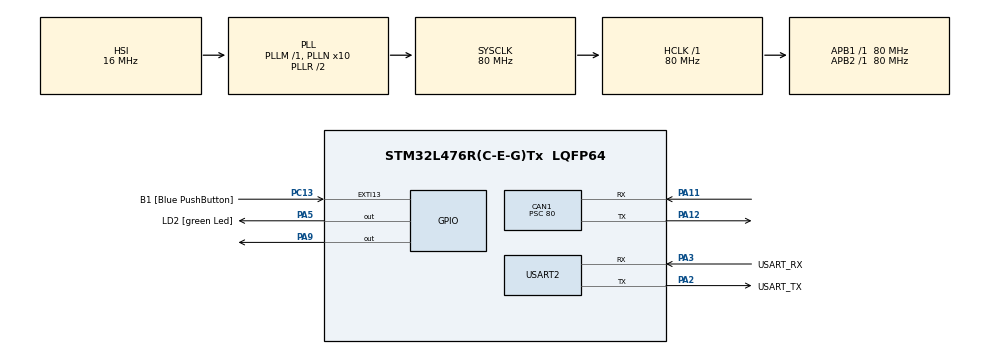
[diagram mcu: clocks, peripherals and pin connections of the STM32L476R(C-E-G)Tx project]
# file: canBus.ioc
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CAN1.BS1=CAN_BS1_2TQ
CAN1.BS2=CAN_BS2_2TQ
CAN1.CalculateBaudRate=200000
CAN1.CalculateTimeBit=5000.00
CAN1.CalculateTimeQuantum=1000.0
CAN1.Prescaler=80
CAN1.SJW=CAN_SJW_1TQ
Mcu.Family=STM32L4
Mcu.Name=STM32L476R(C-E-G)Tx
Mcu.Package=LQFP64
NVIC.CAN1_RX0_IRQn=true\:2\:0\:true\:false\:true\:true\:true
NVIC.EXTI15_10_IRQn=true\:1\:0\:true\:false\:true\:true\:true
NVIC.PriorityGroup=NVIC_PRIORITYGROUP_4
PA11.Mode=CAN_Activate
PA11.Signal=CAN1_RX
PA12.Mode=CAN_Activate
PA12.Signal=CAN1_TX
PA13\ (JTMS-SWDIO).GPIO_Label=TMS
PA13\ (JTMS-SWDIO).Mode=Serial_Wire
PA13\ (JTMS-SWDIO).Signal=SYS_JTMS-SWDIO
PA14\ (JTCK-SWCLK).GPIO_Label=TCK
PA14\ (JTCK-SWCLK).Mode=Serial_Wire
PA14\ (JTCK-SWCLK).Signal=SYS_JTCK-SWCLK
PA2.GPIO_Label=USART_TX
PA2.GPIO_Mode=GPIO_MODE_AF_PP
PA2.GPIO_PuPd=GPIO_NOPULL
PA2.GPIO_Speed=GPIO_SPEED_FREQ_VERY_HIGH
PA2.Mode=Asynchronous
PA2.Signal=USART2_TX
PA3.GPIO_Label=USART_RX
PA3.GPIO_Mode=GPIO_MODE_AF_PP
PA3.GPIO_PuPd=GPIO_NOPULL
PA3.GPIO_Speed=GPIO_SPEED_FREQ_VERY_HIGH
PA3.Mode=Asynchronous
PA3.Signal=USART2_RX
PA5.GPIO_Label=LD2 [green Led]
PA5.GPIO_ModeDefaultOutputPP=GPIO_MODE_OUTPUT_PP
PA5.GPIO_PuPd=GPIO_NOPULL
PA5.GPIO_Speed=GPIO_SPEED_FREQ_LOW
PA5.Signal=GPIO_Output
PA9.Signal=GPIO_Output
PB3\ (JTDO-TRACESWO).GPIO_Label=SWO
PB3\ (JTDO-TRACESWO).Signal=SYS_JTDO-SWO
PC13.GPIO_Label=B1 [Blue PushButton]
PC13.GPIO_ModeDefaultEXTI=GPIO_MODE_IT_FALLING
PC13.GPIO_PuPd=GPIO_NOPULL
PC13.Signal=GPXTI13
PC14-OSC32_IN\ (PC14).Signal=RCC_OSC32_IN
PC15-OSC32_OUT\ (PC15).Signal=RCC_OSC32_OUT
PH0-OSC_IN\ (PH0).Mode=HSE-External-Oscillator
PH0-OSC_IN\ (PH0).Signal=RCC_OSC_IN
PH1-OSC_OUT\ (PH1).Mode=HSE-External-Oscillator
PH1-OSC_OUT\ (PH1).Signal=RCC_OSC_OUT
ProjectManager.HeapSize=0x200
ProjectManager.StackSize=0x400
ProjectManager.TargetToolchain=STM32CubeIDE
RCC.ADCFreq_Value=64000000
RCC.AHBFreq_Value=80000000
RCC.APB1Freq_Value=80000000
RCC.APB1TimFreq_Value=80000000
RCC.APB2Freq_Value=80000000
RCC.APB2TimFreq_Value=80000000
RCC.CortexFreq_Value=80000000
RCC.HCLKFreq_Value=80000000
RCC.HSE_VALUE=8000000
RCC.HSI_VALUE=16000000
RCC.LSE_VALUE=32768
RCC.MSI_VALUE=4000000
RCC.PLLN=10
RCC.PLLSourceVirtual=RCC_PLLSOURCE_HSI
RCC.PREFETCH_ENABLE=1
RCC.SYSCLKFreq_VALUE=80000000
RCC.SYSCLKSource=RCC_SYSCLKSOURCE_PLLCLK
RCC.USBFreq_Value=64000000
RCC.VCOOutputFreq_Value=160000000
TIM6.Prescaler=80
USART2.VirtualMode-Asynchronous=VM_ASYNC
VP_TIM6_VS_ClockSourceINT.Mode=Enable_Timer
board=NUCLEO-L476RG

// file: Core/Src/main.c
/* USER CODE BEGIN Header */
/**
  ******************************************************************************
  * @file           : main.c
  * @brief          : Main program body
  ******************************************************************************
  * @attention
  *
  * <h2><center>&copy; Copyright (c) 2021 STMicroelectronics.
  * All rights reserved.</center></h2>
  *
  * This software component is licensed by ST under BSD 3-Clause license,
  * the "License"; You may not use this file except in compliance with the
  * License. You may obtain a copy of the License at:
  *                        opensource.org/licenses/BSD-3-Clause
  *
  ******************************************************************************
  */
/* USER CODE END Header */
#include "main.h"

CAN_HandleTypeDef hcan1;

TIM_HandleTypeDef htim6;

UART_HandleTypeDef huart2;

/* USER CODE BEGIN PV */
CAN_TxHeaderTypeDef TxHeader;
CAN_RxHeaderTypeDef RxHeader;
CAN_FilterTypeDef FilterConfig;

uint32_t TxMailbox;
uint8_t TxData[8] = {0,0,0,0,0,0,0,0};
uint8_t RxData[8] = {0,0,0,0,0,0,0,0};
uint8_t a = 2;
uint8_t b = 1;
/* USER CODE END PV */

void SystemClock_Config(void);
static void MX_GPIO_Init(void);
static void MX_USART2_UART_Init(void);
static void MX_CAN1_Init(void);
static void MX_TIM6_Init(void);

int main(void)
{

  /* MCU Configuration--------------------------------------------------------*/

  /* Reset of all peripherals, Initializes the Flash interface and the Systick. */
  HAL_Init();

  /* Configure the system clock */
  SystemClock_Config();

  /* Initialize all configured peripherals */
  MX_GPIO_Init();
  MX_USART2_UART_Init();
  MX_CAN1_Init();
  MX_TIM6_Init();
  /* USER CODE BEGIN 2 */
  FilterConfig.FilterBank = 0; //SLAve
  FilterConfig.FilterMode = CAN_FILTERMODE_IDMASK;
  FilterConfig.FilterFIFOAssignment = CAN_FILTER_FIFO0;
  FilterConfig.FilterIdHigh = 0x245<<5;
  FilterConfig.FilterIdLow = 0;
  FilterConfig.FilterMaskIdHigh = 0;
  FilterConfig.FilterMaskIdLow = 0;
  FilterConfig.FilterScale=CAN_FILTERSCALE_32BIT;
  FilterConfig.FilterActivation= ENABLE;
  FilterConfig.SlaveStartFilterBank = 14;

  TxHeader.DLC = 8;            			// grote van bericht 1 - 8
  TxHeader.IDE = CAN_ID_STD;   			// standaard
  TxHeader.RTR = CAN_RTR_DATA;
  TxHeader.StdId = 0x245;        			// identificatie nummer
  TxHeader.TransmitGlobalTime = DISABLE;

  HAL_CAN_ConfigFilter(&hcan1,&FilterConfig);
  HAL_CAN_Start(&hcan1);
  HAL_CAN_ActivateNotification(&hcan1,CAN_IT_RX_FIFO0_MSG_PENDING);

  /* USER CODE END 2 */

  /* Infinite loop */
  while (1)
  {

  }
}

void SystemClock_Config(void)
{
  RCC_OscInitTypeDef RCC_OscInitStruct = {0};
  RCC_ClkInitTypeDef RCC_ClkInitStruct = {0};

  /** Configure the main internal regulator output voltage
  */
  if (HAL_PWREx_ControlVoltageScaling(PWR_REGULATOR_VOLTAGE_SCALE1) != HAL_OK)
  {
    Error_Handler();
  }
  /** Initializes the RCC Oscillators according to the specified parameters
  * in the RCC_OscInitTypeDef structure.
  */
  RCC_OscInitStruct.OscillatorType = RCC_OSCILLATORTYPE_HSI;
  RCC_OscInitStruct.HSIState = RCC_HSI_ON;
  RCC_OscInitStruct.HSICalibrationValue = RCC_HSICALIBRATION_DEFAULT;
  RCC_OscInitStruct.PLL.PLLState = RCC_PLL_ON;
  RCC_OscInitStruct.PLL.PLLSource = RCC_PLLSOURCE_HSI;
  RCC_OscInitStruct.PLL.PLLM = 1;
  RCC_OscInitStruct.PLL.PLLN = 10;
  RCC_OscInitStruct.PLL.PLLP = RCC_PLLP_DIV7;
  RCC_OscInitStruct.PLL.PLLQ = RCC_PLLQ_DIV2;
  RCC_OscInitStruct.PLL.PLLR = RCC_PLLR_DIV2;
  if (HAL_RCC_OscConfig(&RCC_OscInitStruct) != HAL_OK)
  {
    Error_Handler();
  }
  /** Initializes the CPU, AHB and APB buses clocks
  */
  RCC_ClkInitStruct.ClockType = RCC_CLOCKTYPE_HCLK|RCC_CLOCKTYPE_SYSCLK
                              |RCC_CLOCKTYPE_PCLK1|RCC_CLOCKTYPE_PCLK2;
  RCC_ClkInitStruct.SYSCLKSource = RCC_SYSCLKSOURCE_PLLCLK;
  RCC_ClkInitStruct.AHBCLKDivider = RCC_SYSCLK_DIV1;
  RCC_ClkInitStruct.APB1CLKDivider = RCC_HCLK_DIV1;
  RCC_ClkInitStruct.APB2CLKDivider = RCC_HCLK_DIV1;

  if (HAL_RCC_ClockConfig(&RCC_ClkInitStruct, FLASH_LATENCY_4) != HAL_OK)
  {
    Error_Handler();
  }
}

static void MX_CAN1_Init(void)
{

  hcan1.Instance = CAN1;
  hcan1.Init.Prescaler = 80;
  hcan1.Init.Mode = CAN_MODE_NORMAL;
  hcan1.Init.SyncJumpWidth = CAN_SJW_1TQ;
  hcan1.Init.TimeSeg1 = CAN_BS1_2TQ;
  hcan1.Init.TimeSeg2 = CAN_BS2_2TQ;
  hcan1.Init.TimeTriggeredMode = DISABLE;
  hcan1.Init.AutoBusOff = DISABLE;
  hcan1.Init.AutoWakeUp = DISABLE;
  hcan1.Init.AutoRetransmission = DISABLE;
  hcan1.Init.ReceiveFifoLocked = DISABLE;
  hcan1.Init.TransmitFifoPriority = DISABLE;
  if (HAL_CAN_Init(&hcan1) != HAL_OK)
  {
    Error_Handler();
  }

}

static void MX_TIM6_Init(void)
{

  TIM_MasterConfigTypeDef sMasterConfig = {0};

  htim6.Instance = TIM6;
  htim6.Init.Prescaler = 80;
  htim6.Init.CounterMode = TIM_COUNTERMODE_UP;
  htim6.Init.Period = 65535;
  htim6.Init.AutoReloadPreload = TIM_AUTORELOAD_PRELOAD_DISABLE;
  if (HAL_TIM_Base_Init(&htim6) != HAL_OK)
  {
    Error_Handler();
  }
  sMasterConfig.MasterOutputTrigger = TIM_TRGO_RESET;
  sMasterConfig.MasterSlaveMode = TIM_MASTERSLAVEMODE_DISABLE;
  if (HAL_TIMEx_MasterConfigSynchronization(&htim6, &sMasterConfig) != HAL_OK)
  {
    Error_Handler();
  }

}

static void MX_USART2_UART_Init(void)
{

  huart2.Instance = USART2;
  huart2.Init.BaudRate = 115200;
  huart2.Init.WordLength = UART_WORDLENGTH_8B;
  huart2.Init.StopBits = UART_STOPBITS_1;
  huart2.Init.Parity = UART_PARITY_NONE;
  huart2.Init.Mode = UART_MODE_TX_RX;
  huart2.Init.HwFlowCtl = UART_HWCONTROL_NONE;
  huart2.Init.OverSampling = UART_OVERSAMPLING_16;
  huart2.Init.OneBitSampling = UART_ONE_BIT_SAMPLE_DISABLE;
  huart2.AdvancedInit.AdvFeatureInit = UART_ADVFEATURE_NO_INIT;
  if (HAL_UART_Init(&huart2) != HAL_OK)
  {
    Error_Handler();
  }

}

static void MX_GPIO_Init(void)
{
  GPIO_InitTypeDef GPIO_InitStruct = {0};

  /* GPIO Ports Clock Enable */
  __HAL_RCC_GPIOC_CLK_ENABLE();
  __HAL_RCC_GPIOH_CLK_ENABLE();
  __HAL_RCC_GPIOA_CLK_ENABLE();
  __HAL_RCC_GPIOB_CLK_ENABLE();

  /*Configure GPIO pin Output Level */
  HAL_GPIO_WritePin(GPIOA, LD2_Pin|GPIO_PIN_9, GPIO_PIN_RESET);

  /*Configure GPIO pin : B1_Pin */
  GPIO_InitStruct.Pin = B1_Pin;
  GPIO_InitStruct.Mode = GPIO_MODE_IT_FALLING;
  GPIO_InitStruct.Pull = GPIO_NOPULL;
  HAL_GPIO_Init(B1_GPIO_Port, &GPIO_InitStruct);

  /*Configure GPIO pins : LD2_Pin PA9 */
  GPIO_InitStruct.Pin = LD2_Pin|GPIO_PIN_9;
  GPIO_InitStruct.Mode = GPIO_MODE_OUTPUT_PP;
  GPIO_InitStruct.Pull = GPIO_NOPULL;
  GPIO_InitStruct.Speed = GPIO_SPEED_FREQ_LOW;
  HAL_GPIO_Init(GPIOA, &GPIO_InitStruct);

  /* EXTI interrupt init*/
  HAL_NVIC_SetPriority(EXTI15_10_IRQn, 1, 0);
  HAL_NVIC_EnableIRQ(EXTI15_10_IRQn);

}

void Error_Handler(void)
{
  __disable_irq();
  while (1)
  {
  }
}

/************************ (C) COPYRIGHT STMicroelectronics *****END OF FILE****/
